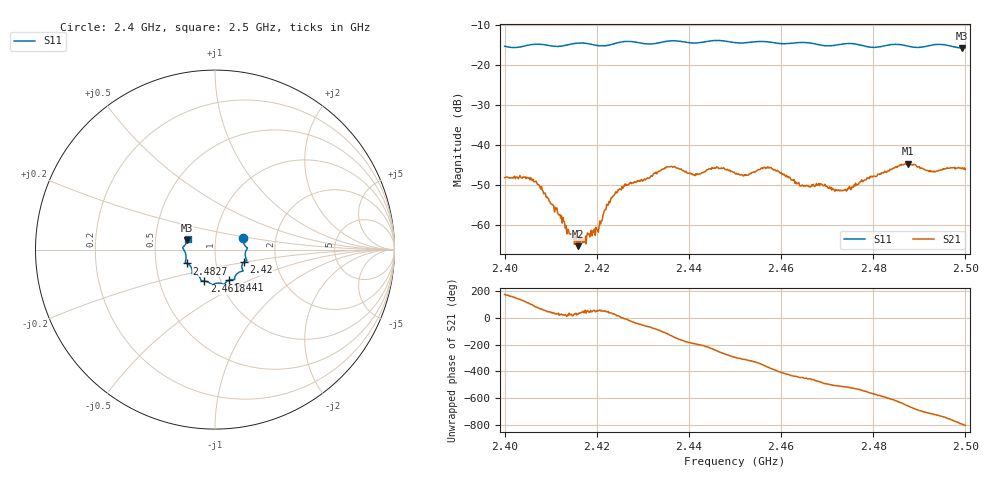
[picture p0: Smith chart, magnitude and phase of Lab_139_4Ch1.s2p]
# Hz S RI R 50
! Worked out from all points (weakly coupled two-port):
!   601 points, 2.4 GHz to 2.5 GHz, reference 50 ohm
!   highest |S21| = -44.73 dB at 2.4875 GHz (marker M1); lowest = -65.4 dB at 2.416 GHz (marker M2)
!   lowest |S11| = -15.8 dB at 2.4993 GHz (marker M3), VSWR 1.39, Z = 36.5 + j3.84 ohm
!   |S11| at or under -10 dB: start of sweep to end of sweep
!   S12 and S22 are empty: the file has one direction only
!   S11 on the Smith chart (normalised r, x): 2.4 GHz: 1.36, +0.18; 2.42 GHz: 1.36, -0.20; 2.441 GHz: 1.10, -0.39; 2.4618 GHz: 0.84, -0.30; 2.4827 GHz: 0.72, -0.11; 2.5 GHz: 0.73, +0.09
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2.4e9  0.1585 0.0628  -0.00385 0.000383  0 0  0 0
2.407e9  0.181 0.00873  0.000546 0.00325  0 0  0 0
2.416e9  0.1772 -0.0596  0.000476 0.000254  0 0  0 0
2.416667e9  0.1773 -0.0608  0.000545 0.000469  0 0  0 0
2.42e9  0.1598 -0.0704  0.000531 0.000706  0 0  0 0
2.422167e9  0.1498 -0.0891  0.00127 0.00128  0 0  0 0
2.4245e9  0.1526 -0.1104  0.00246 0.000708  0 0  0 0
2.433333e9  0.1115 -0.1508  -7.56e-05 -0.00458  0 0  0 0
2.4365e9  0.1087 -0.1674  -0.00394 -0.00343  0 0  0 0
2.441e9  0.0788 -0.1698  -0.00415 0.00093  0 0  0 0
2.445833e9  0.0502 -0.1951  -0.0023 0.00456  0 0  0 0
2.45e9  0.0285 -0.1873  0.00194 0.00393  0 0  0 0
2.457333e9  -0.0213 -0.1918  0.00519 -0.000973  0 0  0 0
2.461833e9  -0.0593 -0.1753  0.00155 -0.00363  0 0  0 0
2.466667e9  -0.0788 -0.1682  -0.000695 -0.00308  0 0  0 0
2.473833e9  -0.1246 -0.1347  -0.00248 -0.00116  0 0  0 0
2.482667e9  -0.1558 -0.0771  -0.0027 0.00367  0 0  0 0
2.483333e9  -0.16 -0.075  -0.00229 0.00417  0 0  0 0
2.4875e9  -0.1622 -0.0552  0.00266 0.00515  0 0  0 0
2.493e9  -0.1777 0.0048  0.00459 7.46e-05  0 0  0 0
2.499333e9  -0.1541 0.0512  0.00121 -0.005  0 0  0 0
2.5e9  -0.1522 0.0607  0.00045 -0.00489  0 0  0 0
